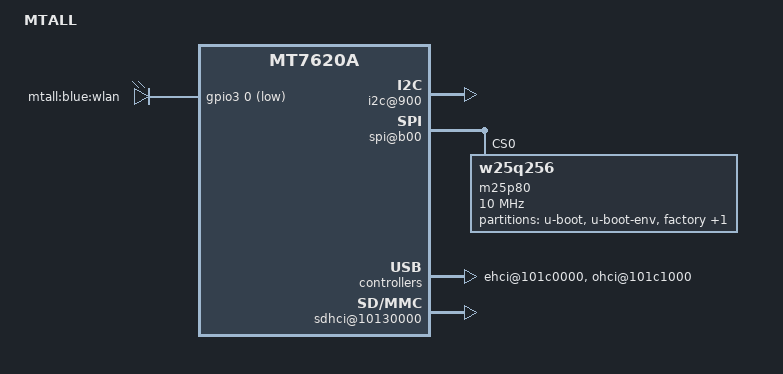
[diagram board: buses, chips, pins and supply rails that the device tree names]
/dts-v1/;

/include/ "mt7620a.dtsi"

/ {
	compatible = "mtall", "ralink,mt7620a-soc";
	model = "MTALL";

	/*chosen {
		bootargs = "console=ttyS0,115200n8";
	};*/

	palmbus@10000000 {
		/* Manfeel: enabled gpio0 & gpio1 */
		gpio0: gpio@600 {
			status = "okay";
		};

		gpio1: gpio@638 {
			status = "okay";
		};

		gpio2: gpio@660 {
			status = "okay";
		};

		gpio3: gpio@688 {
			status = "okay";
		};

		i2c@900 {
			status = "okay";
		};

		spi@b00 {
			status = "okay";

			m25p80@0 {
				#address-cells = <1>;
				#size-cells = <1>;
				compatible = "w25q256";
				reg = <0 0>;
				linux,modalias = "m25p80", "w25q256";
				spi-max-frequency = <10000000>;

				partition@0 {
					label = "u-boot";
					reg = <0x0 0x30000>;
					read-only;
				};

				partition@30000 {
					label = "u-boot-env";
					reg = <0x30000 0x10000>;
					read-only;
				};

				factory: partition@40000 {
					label = "factory";
					reg = <0x40000 0x10000>;
					read-only;
				};

				partition@50000 {
					label = "firmware";
					reg = <0x50000 0x1fb0000>;
				};
			};

			/*
			m25p80@1 {
				#address-cells = <1>;
				#size-cells = <1>;
				compatible = "w25q256";
				reg = <1 0>;
				linux,modalias = "m25p80", "w25q256";
				spi-max-frequency = <10000000>;

				partition@0 {
					label = "edisk1";
					reg = <0x0 0x2000000>;
				};
			};

			m25p80@2 {
				#address-cells = <1>;
				#size-cells = <1>;
				compatible = "w25q256";
				reg = <2 0>;
				linux,modalias = "m25p80", "w25q256";
				spi-max-frequency = <10000000>;

				partition@0 {
					label = "edisk2";
					reg = <0x0 0x2000000>;
				};
			};
			*/

			/* Manfeel: enable spidev */
			/*
			spidev@1 {
				#address-cells = <1>;
				#size-cells = <1>;
				compatible = "spidev";
				reg = <1 0>;
				linux,modalias = "spidev", "spidev";
				spi-max-frequency = <10000000>;

			};
			*/
		};
	};

	ehci@101c0000 {
		status = "okay";
	};

	ohci@101c1000 {
		status = "okay";
	};

	sdhci@10130000 {
		status = "okay";
	};

	ethernet@10100000 {
		mtd-mac-address = <&factory 0x4>;
		ralink,port-map = "wllll";
	};

	wmac@10180000 {
		ralink,mtd-eeprom = <&factory 0>;
	};

	pinctrl {
		state_default: pinctrl0 {
			default {
				ralink,group = "wled", "pa", "wdt", "mdio";
				ralink,function = "gpio";
			};

			uartf_gpio {
			  ralink,group = "uartf";
			  ralink,function = "gpio uartf";
			};
		};
	};

	gpio-leds {
		compatible = "gpio-leds";
		wlan {
			label = "mtall:blue:wlan";
			gpios = <&gpio3 0 1>;
		};
	};

};
